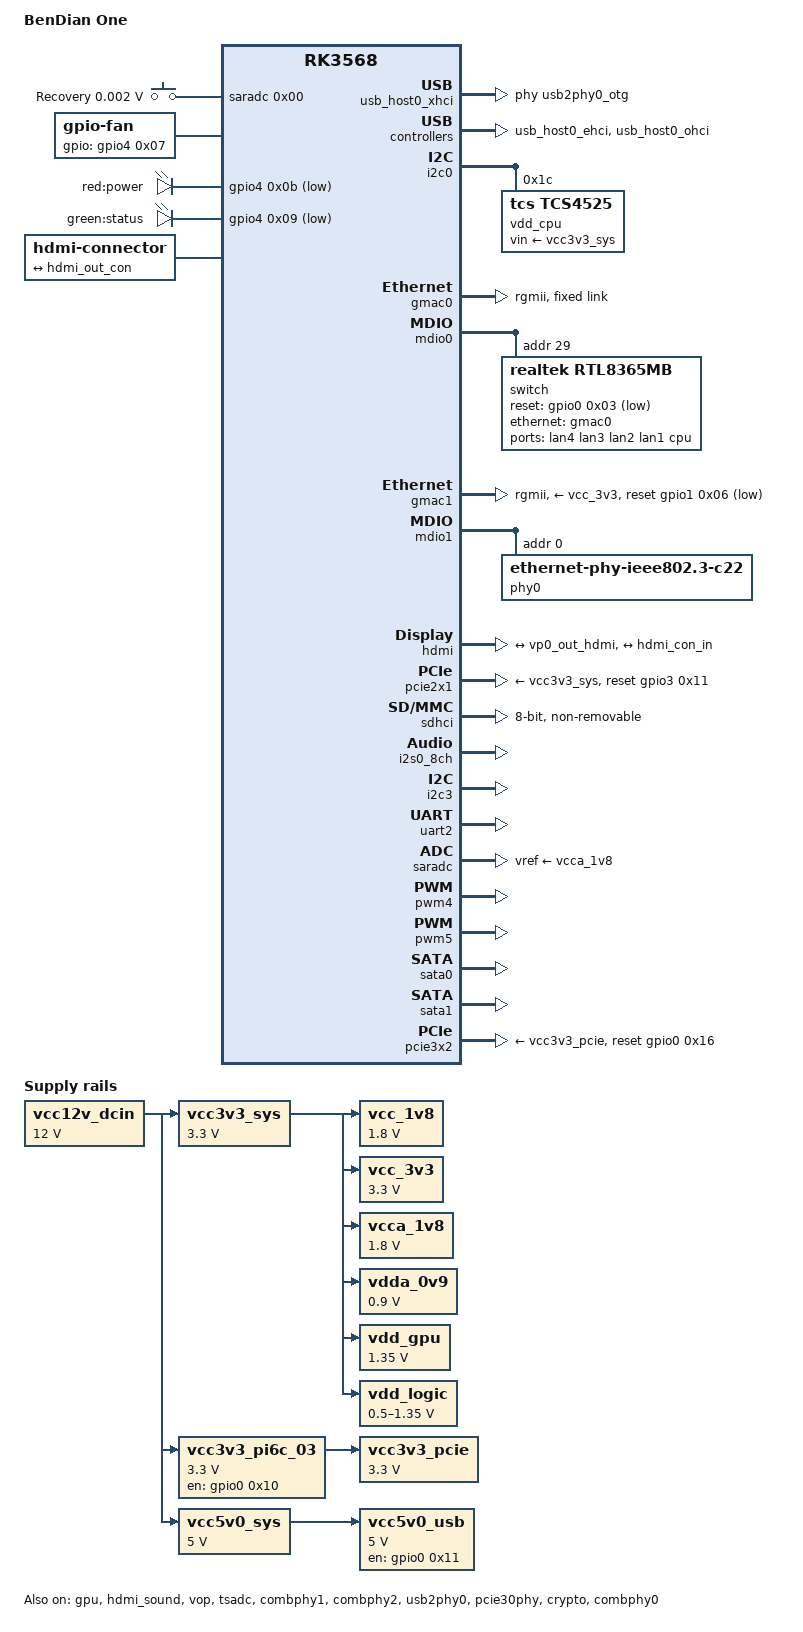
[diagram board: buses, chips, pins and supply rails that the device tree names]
/dts-v1/;

#include "rk3568.dtsi"

/ {
	compatible = "bendian,bd-one", "rockchip,rk3568";
	model = "BenDian One";

	aliases {
		ethernet0 = &gmac0;
		ethernet1 = &gmac1;
		mmc0 = &sdhci;
		led-boot = &power_led;
		led-failsafe = &power_led;
		led-running = &power_led;
		led-upgrade = &power_led;
	};

	cpuinfo {
		compatible = "rockchip,cpuinfo";
		nvmem-cells = <0x05 0x06 0x07>;
		nvmem-cell-names = "id", "cpu-version", "cpu-code";
	};

	chosen {
		stdout-path = "serial2:1500000n8";
	};

	adc-keys {
		compatible = "adc-keys";
		io-channels = <&saradc 0x00>;
		io-channel-names = "buttons";
		keyup-threshold-microvolt = <0x1b7740>;
		poll-interval = <0x64>;

		button-recovery {
			label = "Recovery";
			linux,code = <0x168>;
			press-threshold-microvolt = <0x6d6>;
		};
	};

	fan: gpio-fan {
		compatible = "gpio-fan";
		gpios = <&gpio4 0x07 0x00>;
		gpio-fan,speed-map = <0x00 0x00 0x1d4c 0x01>;
		#cooling-cells = <0x02>;
		pinctrl-0 = <&fan_pins>;
		pinctrl-names = "default";
	};

	gpio-leds {
		compatible = "gpio-leds";
		pinctrl-names = "default";
		pinctrl-0 = <&power_led_pin>,<&status_led_pin>;

		power_led: led-0 {
			label = "red:power";
			gpios = <&gpio4 0x0b 0x01>;
		};

		led-1 {
			label = "green:status";
			gpios = <&gpio4 0x09 0x01>;
			linux,default-trigger = "heartbeat";
		};
	};

	hdmi-con {
		compatible = "hdmi-connector";
		type = "a";

		port {

			hdmi_con_in: endpoint {
				remote-endpoint = <&hdmi_out_con>;
			};
		};
	};

	vcc12v_dcin: vcc12v-dcin {
		compatible = "regulator-fixed";
		regulator-always-on;
		regulator-boot-on;
		regulator-min-microvolt = <0xb71b00>;
		regulator-max-microvolt = <0xb71b00>;
		regulator-name = "vcc12v_dcin";
	};

	vcc3v3_sys: vcc3v3-sys {
		compatible = "regulator-fixed";
		regulator-name = "vcc3v3_sys";
		regulator-always-on;
		regulator-boot-on;
		regulator-min-microvolt = <0x325aa0>;
		regulator-max-microvolt = <0x325aa0>;
		vin-supply = <&vcc12v_dcin>;
	};

	vcc3v3_pi6c_03: vcc3v3-pi6c-03 {
		compatible = "regulator-fixed";
		enable-active-high;
		gpios = <&gpio0 0x10 0x00>;
		pinctrl-names = "default";
		pinctrl-0 = <&ssd_pwr_en>;
		regulator-name = "vcc3v3_pi6c_03";
		regulator-min-microvolt = <0x325aa0>;
		regulator-max-microvolt = <0x325aa0>;
		vin-supply = <&vcc12v_dcin>;
	};

	vcc3v3_pcie: vcc3v3-pcie {
		compatible = "regulator-fixed";
		regulator-name = "vcc3v3_pcie";
		regulator-always-on;
		regulator-boot-on;
		regulator-min-microvolt = <0x325aa0>;
		regulator-max-microvolt = <0x325aa0>;
		vin-supply = <&vcc3v3_pi6c_03>;
	};

	vcc5v0_sys: vcc5v0-sys {
		compatible = "regulator-fixed";
		regulator-name = "vcc5v0_sys";
		regulator-always-on;
		regulator-boot-on;
		regulator-min-microvolt = <0x4c4b40>;
		regulator-max-microvolt = <0x4c4b40>;
		vin-supply = <&vcc12v_dcin>;
	};

	vcc5v0_usb: vcc5v0-usb {
		compatible = "regulator-fixed";
		enable-active-high;
		gpio = <&gpio0 0x11 0x00>;
		pinctrl-names = "default";
		pinctrl-0 = <&usb_pwr_en>;
		regulator-min-microvolt = <0x4c4b40>;
		regulator-max-microvolt = <0x4c4b40>;
		regulator-name = "vcc5v0_usb";
		vin-supply = <&vcc5v0_sys>;
	};

	vcc_1v8: vcc-1v8 {
		compatible = "regulator-fixed";
		regulator-name = "vcc_1v8";
		regulator-always-on;
		regulator-boot-on;
		regulator-min-microvolt = <0x1b7740>;
		regulator-max-microvolt = <0x1b7740>;
		vin-supply = <&vcc3v3_sys>;
	};

	vcc_3v3: vcc-3v3 {
		compatible = "regulator-fixed";
		regulator-name = "vcc_3v3";
		regulator-always-on;
		regulator-boot-on;
		regulator-min-microvolt = <0x325aa0>;
		regulator-max-microvolt = <0x325aa0>;
		vin-supply = <&vcc3v3_sys>;
	};

	vcca_1v8: vcca-1v8 {
		compatible = "regulator-fixed";
		regulator-name = "vcca_1v8";
		regulator-always-on;
		regulator-boot-on;
		regulator-min-microvolt = <0x1b7740>;
		regulator-max-microvolt = <0x1b7740>;
		vin-supply = <&vcc3v3_sys>;
	};

	vdda_0v9: vdda-0v9 {
		compatible = "regulator-fixed";
		regulator-name = "vdda_0v9";
		regulator-always-on;
		regulator-boot-on;
		regulator-min-microvolt = <0xdbba0>;
		regulator-max-microvolt = <0xdbba0>;
		vin-supply = <&vcc3v3_sys>;
	};

	vdd_gpu: vdd-gpu {
		compatible = "pwm-regulator";
		pwms = <&pwm4 0x00 0x1388 0x01>;
		pwm-supply = <&vcc3v3_sys>;
		regulator-name = "vdd_gpu";
		regulator-always-on;
		regulator-boot-on;
		regulator-init-microvolt = <0xdbba0>;
		regulator-min-microvolt = "", "\f5";
		regulator-max-microvolt = <0x149970>;
		regulator-ramp-delay = <0x1771>;
		regulator-settling-time-up-us = <0xfa>;
	};

	vdd_logic: vdd-logic {
		compatible = "pwm-regulator";
		pwms = <&pwm5 0x00 0x1388 0x01>;
		pwm-supply = <&vcc3v3_sys>;
		regulator-name = "vdd_logic";
		regulator-always-on;
		regulator-boot-on;
		regulator-init-microvolt = <0xdbba0>;
		regulator-min-microvolt = <0x7a120>;
		regulator-max-microvolt = <0x149970>;
		regulator-ramp-delay = <0x1771>;
		regulator-settling-time-up-us = <0xfa>;
	};
};

&cpu0 {
	cpu-supply = <&vdd_cpu>;
};

&cpu1 {
	cpu-supply = <&vdd_cpu>;
};

&cpu2 {
	cpu-supply = <&vdd_cpu>;
};

&cpu3 {
	cpu-supply = <&vdd_cpu>;
};

&gpu {
	status = "okay";
	mali-supply = <&vdd_gpu>;
};

&hdmi_sound {
	status = "okay";
};

&usb_host0_xhci {
	status = "okay";
	phys = <&usb2phy0_otg>,<&combphy0 0x04>;
	phy-names = "usb2-phy", "usb3-phy";
	extcon = <&usb2phy0>;
};

&usb_host0_ehci {
	status = "okay";
};

&usb_host0_ohci {
	status = "okay";
};

&pmu_io_domains {
	status = "okay";
	pmuio1-supply = <&vcc_3v3>;
	pmuio2-supply = <&vcc_3v3>;
	vccio1-supply = <&vcc_3v3>;
	vccio2-supply = <&vcc_1v8>;
	vccio3-supply = <&vcc_3v3>;
	vccio4-supply = <&vcc_3v3>;
	vccio5-supply = <&vcc_3v3>;
	vccio6-supply = <&vcc_3v3>;
	vccio7-supply = <&vcc_3v3>;
};

&i2c0 {
	status = "okay";

	vdd_cpu: regulator@1c {
		compatible = "tcs,tcs4525";
		reg = <0x1c>;
		fcs,suspend-voltage-selector = <0x01>;
		regulator-name = "vdd_cpu";
		regulator-always-on;
		regulator-boot-on;
		regulator-init-microvolt = <0xdbba0>;
		regulator-min-microvolt = <0xadf34>;
		regulator-max-microvolt = <0x1535b0>;
		regulator-ramp-delay = <0x8fc>;
		vin-supply = <&vcc3v3_sys>;

		regulator-state-mem {
			regulator-off-in-suspend;
		};
	};
};

&gmac0 {
	status = "okay";
	assigned-clocks = <&cru 0x185>,<&cru 0x182>;
	assigned-clock-parents = <&cru 0x183>;
	assigned-clock-rates = <0x00 0x7735940>;
	clock_in_out = "output";
	phy-mode = "rgmii";
	pinctrl-names = "default";
	pinctrl-0 = <&gmac0_miim>,<&gmac0_tx_bus2>,<&gmac0_rx_bus2>,<&gmac0_rgmii_clk>,<&gmac0_rgmii_bus>;
	tx_delay = <0x4f>;
	rx_delay = <0x0f>;

	fixed-link {
		speed = <0x3e8>;
		full-duplex;
	};
};

&mdio0 {

	switch@29 {
		compatible = "realtek,rtl8365mb";
		reg = <0x1d>;
		reset-gpios = <&gpio0 0x03 0x01>;

		switch_intc: interrupt-controller {
			interrupt-parent = <&gpio0>;
			interrupts = <0x04 0x08>;
			interrupt-controller;
			#address-cells = <0x00>;
			#interrupt-cells = <0x01>;
		};

		ports {
			#address-cells = <0x01>;
			#size-cells = <0x00>;

			port@0 {
				reg = <0x00>;
				label = "lan4";
			};

			port@1 {
				reg = <0x01>;
				label = "lan3";
			};

			port@2 {
				reg = <0x02>;
				label = "lan2";
			};

			port@3 {
				reg = <0x03>;
				label = "lan1";
			};

			port@7 {
				reg = <0x07>;
				label = "cpu";
				ethernet = <&gmac0>;
				phy-mode = "rgmii";

				fixed-link {
					speed = <0x3e8>;
					full-duplex;
				};
			};
		};
	};
};

&gmac1 {
	status = "okay";
	assigned-clocks = <&cru 0x189>,<&cru 0x186>;
	assigned-clock-parents = <&cru 0x187>;
	assigned-clock-rates = <0x00 0x7735940>;
	clock_in_out = "output";
	phy-handle = <0x49>;
	phy-mode = "rgmii";
	phy-supply = <&vcc_3v3>;
	pinctrl-names = "default";
	pinctrl-0 = <&gmac1m0_miim>,<&gmac1m0_tx_bus2>,<&gmac1m0_rx_bus2>,<&gmac1m0_rgmii_clk>,<&gmac1m0_rgmii_bus>;
	snps,reset-delays-us = <0x00 0x4e20 0x186a0>;
	snps,reset-gpio = <&gpio1 0x06 0x01>;
	snps,reset-active-low;
	tx_delay = <0x30>;
	rx_delay = <0x10>;
};

&mdio1 {
	
	phy0: ethernet-phy@0 {
		compatible = "ethernet-phy-ieee802.3-c22";
		reg = <0x00>;
		realtek,led-data = <0x17b>;
	};
};


&vop {
	status = "okay";
	compatible = "rockchip,rk3568-vop";
	assigned-clocks = <&cru 0xdf>,<&cru 0xe0>;
	assigned-clock-parents = <&pmucru 0x02>,<&cru 0x05>;
};

&vp0 {

	vp0_out_hdmi: endpoint@2 {
		reg = <0x02>;
		remote-endpoint = <&hdmi_in_vp0>;
	};
};

&vop_mmu {
	status = "okay";
};

&hdmi {
	status = "okay";
	avdd-0v9-supply = <&vdda_0v9>;
	avdd-1v8-supply = <&vcca_1v8>;

	ports {
		#address-cells = <0x01>;
		#size-cells = <0x00>;

		hdmi_in: port@0 {
			reg = <0x00>;

			hdmi_in_vp0: endpoint {
				remote-endpoint = <&vp0_out_hdmi>;
			};
		};

		hdmi_out: port@1 {
			reg = <0x01>;

			hdmi_out_con: endpoint {
				remote-endpoint = <&hdmi_con_in>;
			};
		};
	};
};

&pcie2x1 {
	status = "okay";
	pinctrl-names = "default";
	pinctrl-0 = <&pcie20_reset_pin>;
	reset-gpios = <&gpio3 0x11 0x00>;
	vpcie3v3-supply = <&vcc3v3_sys>;
};

&sdhci {
	status = "okay";
	bus-width = <0x08>;
	max-frequency = <0xbebc200>;
	non-removable;
	pinctrl-names = "default";
	pinctrl-0 = <&emmc_bus8>,<&emmc_clk>,<&emmc_cmd>;
};

&i2s0_8ch {
	status = "okay";
};

&i2c3 {
	status = "okay";
};

&uart2 {
	status = "okay";
};

&cpu_thermal {

	trips {

		cpu_alert0: cpu_alert0 {
			temperature = <0x11170>;
			hysteresis = <0x7d0>;
			type = "passive";
		};

		cpu_alert1: cpu_alert1 {
			temperature = <0x124f8>;
			hysteresis = <0x7d0>;
			type = "passive";
		};

		cpu_crit: cpu_crit {
			temperature = <0x17318>;
			hysteresis = <0x7d0>;
			type = "critical";
		};

		cpu_trip_active_low: cpu-trip-active-low {
			temperature = <0xd6d8>;
			hysteresis = <0x7d0>;
			type = "active";
		};

		cpu_trip_active_med: cpu-trip-active-med {
			temperature = <0x11170>;
			hysteresis = <0x7d0>;
			type = "active";
		};

		cpu_trip_active_high: cpu-trip-active-high {
			temperature = <0x14c08>;
			hysteresis = <0x7d0>;
			type = "hot";
		};
	};

	cooling-maps {

		map0 {
			trip = <&cpu_alert0>;
			cooling-device =
				<&cpu0 THERMAL_NO_LIMIT THERMAL_NO_LIMIT>,
				<&cpu1 THERMAL_NO_LIMIT THERMAL_NO_LIMIT>,
				<&cpu2 THERMAL_NO_LIMIT THERMAL_NO_LIMIT>,
				<&cpu3 THERMAL_NO_LIMIT THERMAL_NO_LIMIT>;
		};

		cpu-active-low {
			cooling-device = <&fan 0x01 0x01>;
			trip = <&cpu_trip_active_low>;
		};

		cpu-active-med {
			cooling-device = <&fan 0x01 0x01>;
			trip = <&cpu_trip_active_med>;
		};

		cpu-active-high {
			cooling-device = <&fan 0x01 0x01>;
			trip = <&cpu_trip_active_high>;
		};
	};
};

&tsadc {
	status = "okay";
	rockchip,hw-tshut-mode = <0x01>;
	rockchip,hw-tshut-polarity = <0x00>;
};

&saradc {
	status = "okay";
	vref-supply = <&vcca_1v8>;
};

&pwm4 {
	status = "okay";
};

&pwm5 {
	status = "okay";
};

&combphy1 {
	status = "okay";
};

&combphy2 {
	status = "okay";
};

&usb2phy0 {
	status = "okay";

	usb2phy0_host: host-port {
		#phy-cells = <0x00>;
		status = "okay";
		phy-supply = <&vcc5v0_usb>;
	};

	usb2phy0_otg: otg-port {
		#phy-cells = <0x00>;
		status = "okay";
		phy-supply = <&vcc5v0_usb>;
	};
};

&sata0 {
	status = "okay";
};

&sata1 {
	status = "okay";
};

&pcie30phy {
	status = "okay";
};

&pcie3x2 {
	status = "okay";
	pinctrl-names = "default";
	pinctrl-0 = <&pcie30_reset_pin>;
	reset-gpios = <&gpio0 0x16 0x00>;
	vpcie3v3-supply = <&vcc3v3_pcie>;
};

&crypto {
	status = "okay";
};

&combphy0 {
	status = "okay";
};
